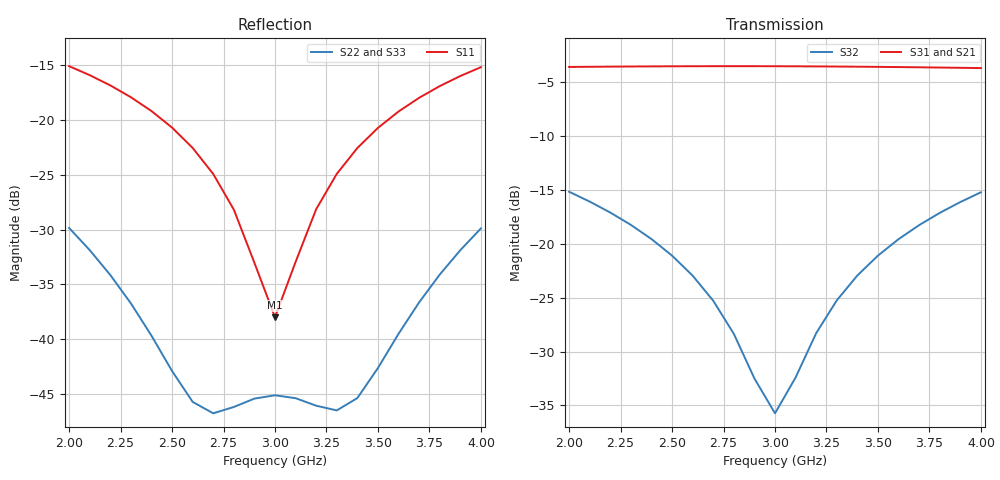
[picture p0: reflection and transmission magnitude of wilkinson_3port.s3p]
! ELE v9.0.0 Benchmark: Physical 3-Port Wilkinson Power Divider (2..4 GHz)
# GHZ S RI R 50.0
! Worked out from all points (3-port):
!   21 points, 2 GHz to 4 GHz, reference 50 ohm
!   strongest paths, dB at 2 GHz, 2.5 GHz, 3 GHz, 3.5 GHz, 4 GHz:
!     S31: -3.6, -3.5, -3.5, -3.6, -3.7
!     S21: -3.6, -3.5, -3.5, -3.6, -3.7
!     S32: -15.2, -21.1, -35.7, -21.1, -15.2
!   lowest |S11| = -38.0 dB at 3 GHz (marker M1), VSWR 1.03, Z = 48.8 + j2.04e-15 ohm
!   |S11| at or under -10 dB: start of sweep to end of sweep
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2  -0.0991 0.1454  0.3453 -0.5658  0.3453 -0.5658
   0.3453 -0.5658  0.0137 0.0291  0.0739 -0.1582
   0.3453 -0.5658  0.0739 -0.1582  0.0137 0.0291
2.3  -0.0571 0.1134  0.2504 -0.6172  0.2504 -0.6172
     0.2504 -0.6172  0.00575 0.0134  0.0446 -0.1141
     0.2504 -0.6172  0.0446 -0.1141  0.00575 0.0134
2.6  -0.0273 0.0693  0.1464 -0.6517  0.1464 -0.6517
     0.1464 -0.6517  -0.00146 0.00496  0.0254 -0.0665
     0.1464 -0.6517  0.0254 -0.0665  -0.00146 0.00496
2.7  -0.0208 0.0527  0.1103 -0.6591  0.1103 -0.6591
     0.1103 -0.6591  -0.00319 0.00329  0.0213 -0.0501
     0.1103 -0.6591  0.0213 -0.0501  -0.00319 0.00329
2.8  -0.0161 0.0355  0.0738 -0.6642  0.0738 -0.6642
     0.0738 -0.6642  -0.00448 0.00199  0.0184 -0.0335
     0.0738 -0.6642  0.0184 -0.0335  -0.00448 0.00199
3  -0.0126 2.09e-17  4.32e-17 -0.6679  4.32e-17 -0.6679
   4.32e-17 -0.6679  -0.00554 1.08e-18  0.0163 -1.96e-17
   4.32e-17 -0.6679  0.0163 -1.96e-17  -0.00554 1.08e-18
3.2  -0.0169 -0.0353  -0.0736 -0.6626  -0.0736 -0.6626
     -0.0736 -0.6626  -0.00453 -0.00203  0.0192 0.0334
     -0.0736 -0.6626  0.0192 0.0334  -0.00453 -0.00203
3.4  -0.0288 -0.0687  -0.1456 -0.6485  -0.1456 -0.6485
     -0.1456 -0.6485  -0.00163 -0.00513  0.0268 0.0661
     -0.1456 -0.6485  0.0268 0.0661  -0.00163 -0.00513
3.7  -0.0591 -0.1115  -0.248 -0.612  -0.248 -0.612
     -0.248 -0.612  0.00513 -0.0138  0.047 0.1128
     -0.248 -0.612  0.047 0.1128  0.00513 -0.0138
4  -0.1009 -0.1419  -0.3408 -0.5591  -0.3408 -0.5591
   -0.3408 -0.5591  0.0122 -0.0296  0.077 0.1555
   -0.3408 -0.5591  0.077 0.1555  0.0122 -0.0296
